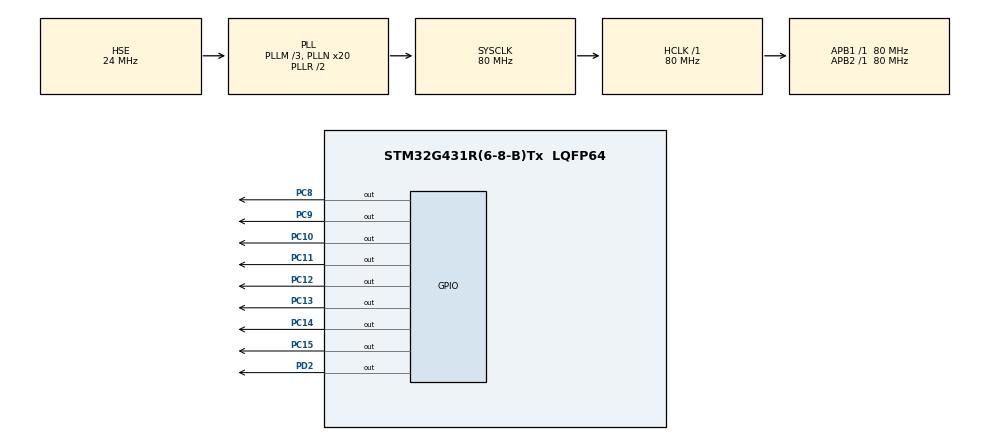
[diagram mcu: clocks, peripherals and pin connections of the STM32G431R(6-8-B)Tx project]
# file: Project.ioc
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Mcu.Family=STM32G4
Mcu.Name=STM32G431R(6-8-B)Tx
Mcu.Package=LQFP64
NVIC.PriorityGroup=NVIC_PRIORITYGROUP_4
PA13.Mode=Serial_Wire
PA13.Signal=SYS_JTMS-SWDIO
PA14.Mode=Serial_Wire
PA14.Signal=SYS_JTCK-SWCLK
PC10.Signal=GPIO_Output
PC11.Signal=GPIO_Output
PC12.Signal=GPIO_Output
PC13.Signal=GPIO_Output
PC14-OSC32_IN.Signal=GPIO_Output
PC15-OSC32_OUT.Signal=GPIO_Output
PC8.Signal=GPIO_Output
PC9.Signal=GPIO_Output
PD2.Signal=GPIO_Output
PF0-OSC_IN.Mode=HSE-External-Oscillator
PF0-OSC_IN.Signal=RCC_OSC_IN
PF1-OSC_OUT.Mode=HSE-External-Oscillator
PF1-OSC_OUT.Signal=RCC_OSC_OUT
ProjectManager.HeapSize=0x0
ProjectManager.StackSize=0x1000
ProjectManager.TargetToolchain=MDK-ARM V5.32
RCC.ADC12Freq_Value=80000000
RCC.AHBFreq_Value=80000000
RCC.APB1Freq_Value=80000000
RCC.APB1TimFreq_Value=80000000
RCC.APB2Freq_Value=80000000
RCC.APB2TimFreq_Value=80000000
RCC.CortexFreq_Value=80000000
RCC.EXTERNAL_CLOCK_VALUE=12288000
RCC.HCLKFreq_Value=80000000
RCC.HSE_VALUE=24000000
RCC.HSI48_VALUE=48000000
RCC.HSI_VALUE=16000000
RCC.LSE_VALUE=32768
RCC.PLLM=RCC_PLLM_DIV3
RCC.PLLN=20
RCC.PLLSourceVirtual=RCC_PLLSOURCE_HSE
RCC.SYSCLKFreq_VALUE=80000000
RCC.SYSCLKSource=RCC_SYSCLKSOURCE_PLLCLK
RCC.USBFreq_Value=80000000
RCC.VCOOutputFreq_Value=160000000
VP_SYS_VS_DBSignals.Mode=DisableDeadBatterySignals
board=custom

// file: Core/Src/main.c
/* USER CODE BEGIN Header */
/**
  ******************************************************************************
  * @file           : main.c
  * @brief          : Main program body
  ******************************************************************************
  * @attention
  *
  * Copyright (c) 2025 STMicroelectronics.
  * All rights reserved.
  *
  * This software is licensed under terms that can be found in the LICENSE file
  * in the root directory of this software component.
  * If no LICENSE file comes with this software, it is provided AS-IS.
  *
  ******************************************************************************
  */
/* USER CODE END Header */
#include "main.h"
#include "gpio.h"

/* USER CODE BEGIN Includes */
#include "lcd.h"

/* USER CODE END Includes */

void SystemClock_Config(void);
/* USER CODE BEGIN PFP */
void LCD_ShowString(uint8_t Line, const char *format, ...);

/* USER CODE END PFP */

int main(void)
{

  /* MCU Configuration--------------------------------------------------------*/

  /* Reset of all peripherals, Initializes the Flash interface and the Systick. */
  HAL_Init();

  /* Configure the system clock */
  SystemClock_Config();

  /* Initialize all configured peripherals */
  MX_GPIO_Init();
  /* USER CODE BEGIN 2 */
  LED_WR(0x00);
  LCD_Init();
  LCD_Clear(Black);
  LCD_SetBackColor(Black);
  LCD_SetTextColor(White);

  LCD_ShowString(Line0, "01234567890123456789");
  LCD_ShowString(Line1, "1                   ");
  LCD_ShowString(Line2, "2  The 16th         ");
  LCD_ShowString(Line3, "3  Blue Bridge Cup  ");
  LCD_ShowString(Line4, "4                   ");
  LCD_ShowString(Line5, "5  Template code    ");
  LCD_ShowString(Line6, "6  created by       ");
  LCD_ShowString(Line7, "7  @ Penguins-lwz   ");
  LCD_ShowString(Line8, "8                   ");
  LCD_ShowString(Line9, "9                   ");

  /* USER CODE END 2 */

  /* Infinite loop */
  while (1)
  {

  }
}

void SystemClock_Config(void)
{
  RCC_OscInitTypeDef RCC_OscInitStruct = {0};
  RCC_ClkInitTypeDef RCC_ClkInitStruct = {0};

  /** Configure the main internal regulator output voltage
  */
  HAL_PWREx_ControlVoltageScaling(PWR_REGULATOR_VOLTAGE_SCALE1);

  /** Initializes the RCC Oscillators according to the specified parameters
  * in the RCC_OscInitTypeDef structure.
  */
  RCC_OscInitStruct.OscillatorType = RCC_OSCILLATORTYPE_HSE;
  RCC_OscInitStruct.HSEState = RCC_HSE_ON;
  RCC_OscInitStruct.PLL.PLLState = RCC_PLL_ON;
  RCC_OscInitStruct.PLL.PLLSource = RCC_PLLSOURCE_HSE;
  RCC_OscInitStruct.PLL.PLLM = RCC_PLLM_DIV3;
  RCC_OscInitStruct.PLL.PLLN = 20;
  RCC_OscInitStruct.PLL.PLLP = RCC_PLLP_DIV2;
  RCC_OscInitStruct.PLL.PLLQ = RCC_PLLQ_DIV2;
  RCC_OscInitStruct.PLL.PLLR = RCC_PLLR_DIV2;
  if (HAL_RCC_OscConfig(&RCC_OscInitStruct) != HAL_OK)
  {
    Error_Handler();
  }

  /** Initializes the CPU, AHB and APB buses clocks
  */
  RCC_ClkInitStruct.ClockType = RCC_CLOCKTYPE_HCLK|RCC_CLOCKTYPE_SYSCLK
                              |RCC_CLOCKTYPE_PCLK1|RCC_CLOCKTYPE_PCLK2;
  RCC_ClkInitStruct.SYSCLKSource = RCC_SYSCLKSOURCE_PLLCLK;
  RCC_ClkInitStruct.AHBCLKDivider = RCC_SYSCLK_DIV1;
  RCC_ClkInitStruct.APB1CLKDivider = RCC_HCLK_DIV1;
  RCC_ClkInitStruct.APB2CLKDivider = RCC_HCLK_DIV1;

  if (HAL_RCC_ClockConfig(&RCC_ClkInitStruct, FLASH_LATENCY_2) != HAL_OK)
  {
    Error_Handler();
  }
}

/* USER CODE BEGIN 4 */
void LCD_ShowString(uint8_t Line, const char *format, ...)
{
	char str[21] = {0};
	va_list ap;
	va_start(ap, format);
	int xnum = vsnprintf(str, 21, format, ap);
	va_end(ap);
	while (xnum < 20) str[xnum++] = 32;
	LCD_DisplayStringLine(Line, (uint8_t *)str);
}

/* USER CODE END 4 */

void Error_Handler(void)
{
  __disable_irq();
  while (1)
  {
  }
}
